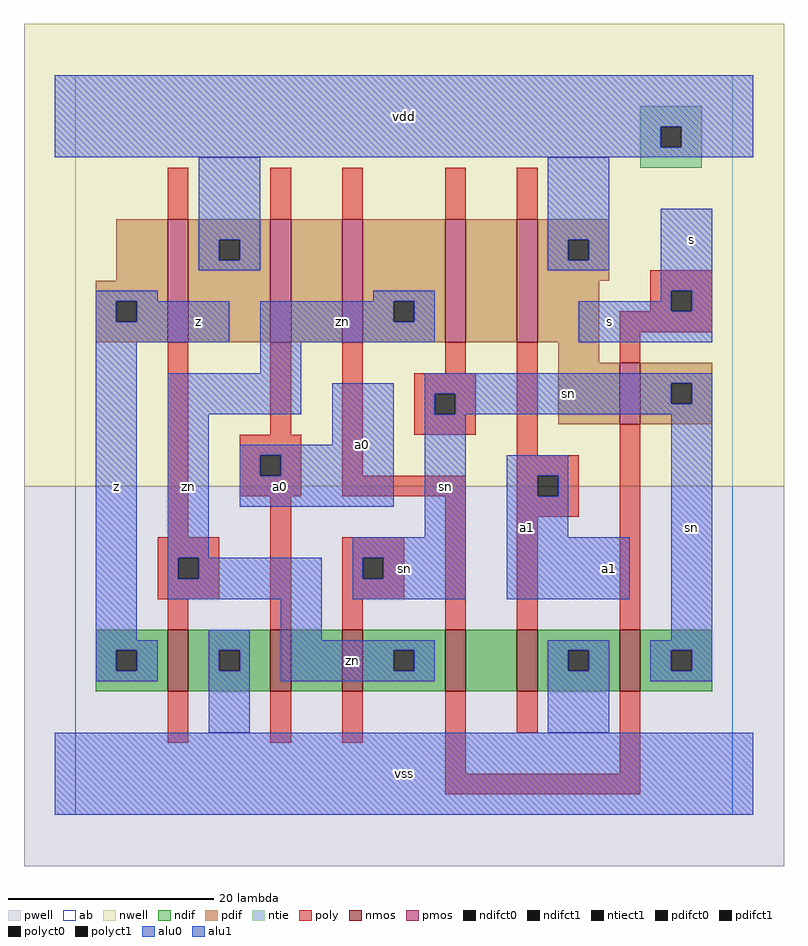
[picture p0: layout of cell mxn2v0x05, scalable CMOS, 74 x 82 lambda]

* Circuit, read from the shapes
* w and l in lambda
.subckt mxn2v0x05 a0 a1 s sn vdd vss z zn
M1 vss zn z VSUBS nfet w=6 l=2
M2 n1 a0 vss VSUBS nfet w=6 l=2
M3 zn sn n1 VSUBS nfet w=6 l=2
M4 n2 s zn VSUBS nfet w=6 l=2
M5 vss a1 n2 VSUBS nfet w=6 l=2
M6 sn s vss VSUBS nfet w=6 l=2
M7 vdd zn z vdd pfet w=12 l=2
M8 n3 a0 vdd vdd pfet w=12 l=2
M9 zn s n3 vdd pfet w=12 l=2
M10 n4 sn zn vdd pfet w=12 l=2
M11 vdd a1 n4 vdd pfet w=12 l=2
M12 sn s vdd vdd pfet w=6 l=2
.ends

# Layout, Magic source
magic
tech scmos
<< ab >>
rect 0 0 64 72
<< nwell >>
rect -5 32 69 77
<< pwell >>
rect -5 -5 69 32
<< poly >>
rect 9 58 11 63
rect 19 58 21 63
rect 26 58 28 63
rect 36 58 38 63
rect 43 58 45 63
rect 56 51 62 53
rect 56 49 58 51
rect 60 49 62 51
rect 9 27 11 46
rect 19 37 21 46
rect 16 35 22 37
rect 16 33 18 35
rect 20 33 22 35
rect 16 31 22 33
rect 26 33 28 46
rect 36 43 38 46
rect 33 41 39 43
rect 33 39 35 41
rect 37 39 39 41
rect 33 37 39 39
rect 43 35 45 46
rect 53 47 62 49
rect 53 44 55 47
rect 43 33 49 35
rect 26 31 38 33
rect 8 25 14 27
rect 8 23 10 25
rect 12 23 14 25
rect 8 21 14 23
rect 9 18 11 21
rect 19 18 21 31
rect 26 25 32 27
rect 26 23 28 25
rect 30 23 32 25
rect 26 21 32 23
rect 26 18 28 21
rect 36 18 38 31
rect 43 31 45 33
rect 47 31 49 33
rect 43 29 49 31
rect 43 18 45 29
rect 53 18 55 38
rect 9 7 11 12
rect 19 7 21 12
rect 26 7 28 12
rect 36 4 38 12
rect 43 8 45 12
rect 53 4 55 12
rect 36 2 55 4
<< ndif >>
rect 2 16 9 18
rect 2 14 4 16
rect 6 14 9 16
rect 2 12 9 14
rect 11 16 19 18
rect 11 14 14 16
rect 16 14 19 16
rect 11 12 19 14
rect 21 12 26 18
rect 28 16 36 18
rect 28 14 31 16
rect 33 14 36 16
rect 28 12 36 14
rect 38 12 43 18
rect 45 16 53 18
rect 45 14 48 16
rect 50 14 53 16
rect 45 12 53 14
rect 55 16 62 18
rect 55 14 58 16
rect 60 14 62 16
rect 55 12 62 14
<< pdif >>
rect 4 52 9 58
rect 2 50 9 52
rect 2 48 4 50
rect 6 48 9 50
rect 2 46 9 48
rect 11 56 19 58
rect 11 54 14 56
rect 16 54 19 56
rect 11 46 19 54
rect 21 46 26 58
rect 28 50 36 58
rect 28 48 31 50
rect 33 48 36 50
rect 28 46 36 48
rect 38 46 43 58
rect 45 56 52 58
rect 45 54 48 56
rect 50 54 52 56
rect 45 52 52 54
rect 45 46 51 52
rect 47 44 51 46
rect 47 38 53 44
rect 55 42 62 44
rect 55 40 58 42
rect 60 40 62 42
rect 55 38 62 40
<< alu1 >>
rect -2 67 66 72
rect -2 65 57 67
rect 59 65 66 67
rect -2 64 66 65
rect 57 51 62 59
rect 2 50 8 51
rect 57 50 58 51
rect 2 48 4 50
rect 6 48 15 50
rect 2 46 15 48
rect 49 49 58 50
rect 60 49 62 51
rect 49 46 62 49
rect 2 17 6 46
rect 25 36 31 42
rect 16 35 31 36
rect 16 33 18 35
rect 20 33 31 35
rect 16 30 31 33
rect 42 33 48 35
rect 42 31 45 33
rect 47 31 48 33
rect 42 27 48 31
rect 42 21 54 27
rect 2 16 8 17
rect 2 14 4 16
rect 6 14 8 16
rect 2 13 8 14
rect -2 0 66 8
<< ntie >>
rect 55 67 61 69
rect 55 65 57 67
rect 59 65 61 67
rect 55 63 61 65
<< nmos >>
rect 9 12 11 18
rect 19 12 21 18
rect 26 12 28 18
rect 36 12 38 18
rect 43 12 45 18
rect 53 12 55 18
<< pmos >>
rect 9 46 11 58
rect 19 46 21 58
rect 26 46 28 58
rect 36 46 38 58
rect 43 46 45 58
rect 53 38 55 44
<< polyct0 >>
rect 35 39 37 41
rect 10 23 12 25
rect 28 23 30 25
<< polyct1 >>
rect 58 49 60 51
rect 18 33 20 35
rect 45 31 47 33
<< ndifct0 >>
rect 14 14 16 16
rect 31 14 33 16
rect 48 14 50 16
rect 58 14 60 16
<< ndifct1 >>
rect 4 14 6 16
<< ntiect1 >>
rect 57 65 59 67
<< pdifct0 >>
rect 14 54 16 56
rect 31 48 33 50
rect 48 54 50 56
rect 58 40 60 42
<< pdifct1 >>
rect 4 48 6 50
<< alu0 >>
rect 12 56 18 64
rect 12 54 14 56
rect 16 54 18 56
rect 12 53 18 54
rect 46 56 52 64
rect 46 54 48 56
rect 50 54 52 56
rect 46 53 52 54
rect 29 50 35 51
rect 18 48 31 50
rect 33 48 35 50
rect 18 46 35 48
rect 18 43 22 46
rect 9 39 22 43
rect 34 42 62 43
rect 9 25 13 39
rect 34 41 58 42
rect 34 39 35 41
rect 37 40 58 41
rect 60 40 62 42
rect 37 39 62 40
rect 34 27 38 39
rect 27 25 38 27
rect 9 23 10 25
rect 12 23 24 25
rect 9 21 24 23
rect 27 23 28 25
rect 30 23 38 25
rect 27 21 38 23
rect 13 16 17 18
rect 13 14 14 16
rect 16 14 17 16
rect 13 8 17 14
rect 20 17 24 21
rect 58 17 62 39
rect 20 16 35 17
rect 20 14 31 16
rect 33 14 35 16
rect 20 13 35 14
rect 46 16 52 17
rect 46 14 48 16
rect 50 14 52 16
rect 46 8 52 14
rect 56 16 62 17
rect 56 14 58 16
rect 60 14 62 16
rect 56 13 62 14
<< labels >>
rlabel alu0 11 32 11 32 6 zn
rlabel alu0 27 15 27 15 6 zn
rlabel alu0 32 24 32 24 6 sn
rlabel alu0 36 32 36 32 6 sn
rlabel alu0 26 48 26 48 6 zn
rlabel alu0 60 28 60 28 6 sn
rlabel alu0 48 41 48 41 6 sn
rlabel alu1 4 32 4 32 6 z
rlabel alu1 12 48 12 48 6 z
rlabel alu1 20 32 20 32 6 a0
rlabel alu1 28 36 28 36 6 a0
rlabel alu1 32 4 32 4 6 vss
rlabel alu1 44 28 44 28 6 a1
rlabel alu1 32 68 32 68 6 vdd
rlabel alu1 52 24 52 24 6 a1
rlabel alu1 52 48 52 48 6 s
rlabel alu1 60 56 60 56 6 s
<< end >>
